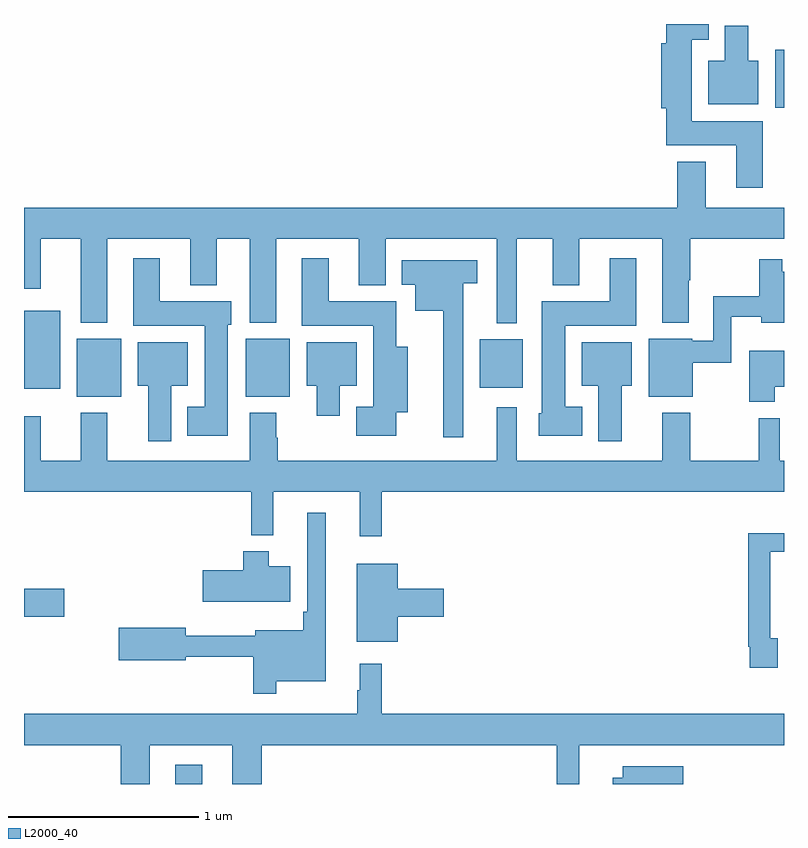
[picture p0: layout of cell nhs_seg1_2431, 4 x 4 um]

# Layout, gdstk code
import gdstk
lib = gdstk.Library(unit=1e-6, precision=1e-09)
def R(c, l, rs):  # rectangles x0, y0, x1, y1
    for r in rs: c.add(gdstk.rectangle(r[:2], r[2:], *l))
def P(c, l, *ps):  # polygons
    for p in ps: c.add(gdstk.Polygon(p, *l))
L2000_40 = (2000, 40)

nhs_seg1_2431 = lib.new_cell('nhs_seg1_2431')
R(nhs_seg1_2431, L2000_40, [(243.797,546.199,243.937,546.301), (243,547.079,243.211,547.226), (243.278,548.237,243.511,548.542), (244.166,548.237,244.399,548.542), (243,548.279,243.19,548.689), (245.399,548.285,245.626,548.539), (246.953,549.758,247,550.063)])
P(nhs_seg1_2431, L2000_40, [(246.889,549.688),(246.514,549.688),(246.514,550.115),(246.604,550.115),(246.604,550.199),(246.38,550.199),(246.38,550.099),(246.353,550.099),(246.353,549.755),(246.38,549.755),(246.38,549.56),(246.749,549.56),(246.749,549.336),(246.889,549.336)],
  [(246.865,550.006),(246.811,550.006),(246.811,550.189),(246.689,550.189),(246.689,550.006),(246.602,550.006),(246.602,549.776),(246.865,549.776)],
  [(245.593,549.068),(245.783,549.068),(245.783,548.825),(245.923,548.825),(245.923,549.068),(246.359,549.068),(246.359,548.627),(246.499,548.627),(246.499,548.851),(246.507,548.851),(246.507,549.068),(247,549.068),(247,549.232),(246.589,549.232),(246.589,549.475),(246.437,549.475),(246.437,549.232),(243,549.232),(243,548.805),(243.089,548.805),(243.089,549.068),(243.299,549.068),(243.299,548.627),(243.439,548.627),(243.439,549.068),(243.875,549.068),(243.875,548.825),(244.015,548.825),(244.015,549.068),(244.187,549.068),(244.187,548.627),(244.327,548.627),(244.327,549.068),(244.763,549.068),(244.763,548.825),(244.903,548.825),(244.903,549.068),(245.489,549.068),(245.489,548.624),(245.593,548.624)],
  [(245.938,548.185),(245.848,548.185),(245.848,548.612),(246.223,548.612),(246.223,548.965),(246.083,548.965),(246.083,548.74),(245.726,548.74),(245.726,548.151),(245.708,548.151),(245.708,548.033),(245.938,548.033)],
  [(244.96,548.156),(245.02,548.156),(245.02,548.5),(244.96,548.5),(244.96,548.74),(244.603,548.74),(244.603,548.965),(244.463,548.965),(244.463,548.612),(244.838,548.612),(244.838,548.185),(244.748,548.185),(244.748,548.033),(244.96,548.033)],
  [(244.072,548.616),(244.09,548.616),(244.09,548.74),(243.715,548.74),(243.715,548.965),(243.575,548.965),(243.575,548.612),(243.95,548.612),(243.95,548.185),(243.86,548.185),(243.86,548.033),(244.072,548.033)],
  [(246.52,548.416),(246.723,548.416),(246.723,548.657),(246.881,548.657),(246.881,548.627),(247,548.627),(247,548.896),(246.991,548.896),(246.991,548.962),(246.87,548.962),(246.87,548.767),(246.627,548.767),(246.627,548.532),(246.516,548.532),(246.516,548.542),(246.287,548.542),(246.287,548.237),(246.52,548.237)],
  [(245.311,548.834),(245.386,548.834),(245.386,548.956),(244.989,548.956),(244.989,548.827),(245.06,548.827),(245.06,548.69),(245.207,548.69),(245.207,548.025),(245.311,548.025)],
  [(244.663,548.294),(244.75,548.294),(244.75,548.524),(244.487,548.524),(244.487,548.294),(244.541,548.294),(244.541,548.136),(244.663,548.136)],
  [(246.145,548.294),(246.199,548.294),(246.199,548.524),(245.936,548.524),(245.936,548.294),(246.023,548.294),(246.023,548.004),(246.145,548.004)],
  [(243.775,548.294),(243.862,548.294),(243.862,548.524),(243.599,548.524),(243.599,548.294),(243.653,548.294),(243.653,548.004),(243.775,548.004)],
  [(246.952,548.291),(247,548.291),(247,548.479),(246.818,548.479),(246.818,548.21),(246.952,548.21)],
  [(244.883,547.736),(247,547.736),(247,547.9),(246.977,547.9),(246.977,548.125),(246.867,548.125),(246.867,547.9),(246.507,547.9),(246.507,548.152),(246.359,548.152),(246.359,547.9),(245.593,547.9),(245.593,548.182),(245.489,548.182),(245.489,547.9),(244.335,547.9),(244.335,548.021),(244.327,548.021),(244.327,548.152),(244.187,548.152),(244.187,547.9),(243.439,547.9),(243.439,548.152),(243.299,548.152),(243.299,547.9),(243.089,547.9),(243.089,548.134),(243,548.134),(243,547.736),(244.195,547.736),(244.195,547.508),(244.313,547.508),(244.313,547.736),(244.766,547.736),(244.766,547.503),(244.883,547.503)],
  [(244.327,546.74),(244.588,546.74),(244.588,547.627),(244.491,547.627),(244.491,547.105),(244.471,547.105),(244.471,547.009),(244.217,547.009),(244.217,546.979),(243.85,546.979),(243.85,547.022),(243.498,547.022),(243.498,546.851),(243.85,546.851),(243.85,546.87),(244.206,546.87),(244.206,546.675),(244.327,546.675)],
  [(246.967,546.966),(246.927,546.966),(246.927,547.422),(247,547.422),(247,547.52),(246.811,547.52),(246.811,546.922),(246.819,546.922),(246.819,546.81),(246.967,546.81)],
  [(244.402,547.345),(244.288,547.345),(244.288,547.423),(244.154,547.423),(244.154,547.323),(243.942,547.323),(243.942,547.157),(244.402,547.157)],
  [(244.966,547.079),(245.209,547.079),(245.209,547.226),(244.966,547.226),(244.966,547.357),(244.751,547.357),(244.751,546.947),(244.966,546.947)],
  [(243.661,546.404),(244.097,546.404),(244.097,546.199),(244.25,546.199),(244.25,546.404),(245.803,546.404),(245.803,546.199),(245.922,546.199),(245.922,546.404),(247,546.404),(247,546.568),(244.883,546.568),(244.883,546.832),(244.766,546.832),(244.766,546.692),(244.755,546.692),(244.755,546.568),(243,546.568),(243,546.404),(243.509,546.404),(243.509,546.199),(243.661,546.199)],
  [(246.469,546.292),(246.152,546.292),(246.152,546.232),(246.098,546.232),(246.098,546.199),(246.469,546.199)])

lib.write_gds('nhs_seg1_2431.gds')
